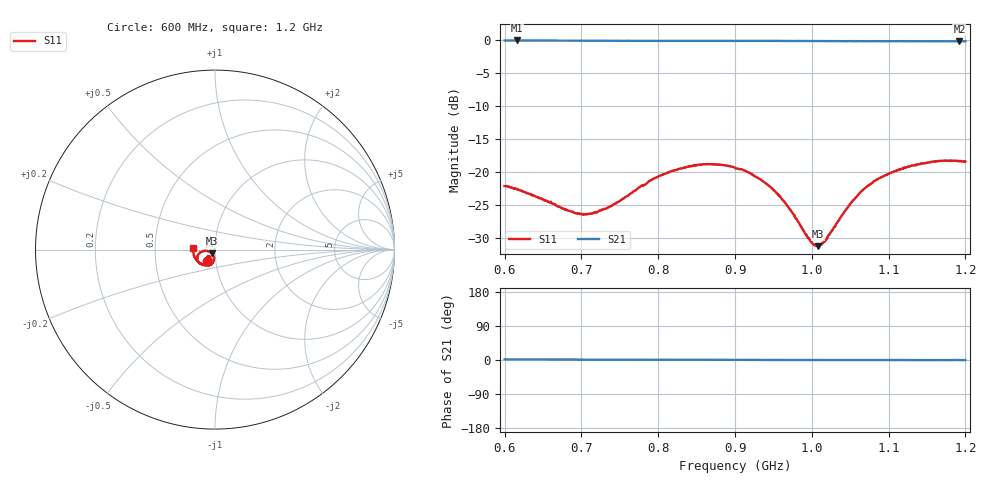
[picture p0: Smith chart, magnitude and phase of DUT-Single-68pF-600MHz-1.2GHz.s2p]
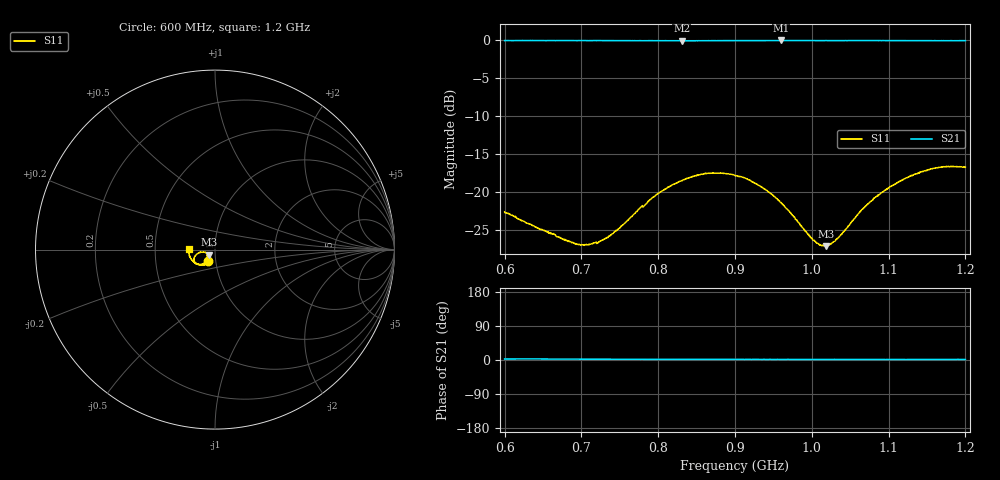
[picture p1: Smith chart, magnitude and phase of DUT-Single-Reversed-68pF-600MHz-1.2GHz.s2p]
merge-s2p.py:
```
#!/usr/bin/python3

"""
    Takes two S2P files, a forward and reverse configuration of the same
    network, and merges them into a single file. For recording S12 and S22
    on VNAs with a single output port.
"""

FORWARD_S2P = 'Tests/DUT-Single-68pF-600MHz-1.2GHz.s2p'
REVERSE_S2P = 'Tests/DUT-Single-Reversed-68pF-600MHz-1.2GHz.s2p'
OUTPUT_FILENAME = 'Tests/DUT-Single-Merged-68pF-600MHz-1.2GHz.s2p'

with open(FORWARD_S2P) as forward:
    forward_lines = forward.readlines()

with open(REVERSE_S2P) as reverse:
    reverse_lines = reverse.readlines()

with open(OUTPUT_FILENAME, 'w') as output:
    # Write header and comment.
    output.write('!Stimulus Real(S11) Imag(S11) Real(S21) Imag(S21) Real(S12) '
                 + 'Imag(S12) Real(S22) Imag(S22)\n')
    output.write('# HZ S RI R 50\n')

    for i, forward_line in enumerate(forward_lines[1:]):
        # Add the forward components, S11 and S12.
        line = forward_line.strip('\n').split(' ')
        line = line[:5]

        # Add the reverse components, S21 and S22.
        # The order of these must be swapped before being appended.
        reverse_line = reverse_lines[i + 1].strip('\n').split(' ')
        line += reverse_line[3:5]
        line += reverse_line[1:3]
        output.write(' '.join(line) + '\n')
```
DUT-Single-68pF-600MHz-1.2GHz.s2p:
# HZ S RI R 50
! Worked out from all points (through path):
!   1010 points, 600 MHz to 1.2 GHz, reference 50 ohm
!   highest |S21| = -0.02 dB at 616.1 MHz (marker M1); lowest = -0.2 dB at 1.192 GHz (marker M2)
!   lowest |S11| = -31.2 dB at 1.008 GHz (marker M3), VSWR 1.06, Z = 48.1 - j1.93 ohm
!   |S11| at or under -10 dB: start of sweep to end of sweep
!   S12 and S22 are empty: the file has one direction only
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6e8  -0.0432 -0.0653  0.9962 0.0298  0 0  0 0
6.160555e8  -0.0449 -0.059  0.9971 0.0294  0 0  0 0
7.06442e8  -0.0293 -0.0382  0.9921 0.0175  0 0  0 0
8.182358e8  -0.0591 -0.0832  0.9887 0.0108  0 0  0 0
9.002972e8  -0.0972 -0.0447  0.99 0.0058  0 0  0 0
9.49653e8  -0.0727 -0.0103  0.9897 0.00242  0 0  0 0
1.007929e9  -0.0187 -0.02  0.9871 0.00147  0 0  0 0
1.083449e9  -0.0231 -0.0843  0.9846 -0.00231  0 0  0 0
1.131615e9  -0.0792 -0.079  0.9854 -0.00254  0 0  0 0
1.192269e9  -0.1211 -0.00519  0.9824 -0.00294  0 0  0 0
1.2e9  -0.1202 0.00663  0.9829 -0.00242  0 0  0 0
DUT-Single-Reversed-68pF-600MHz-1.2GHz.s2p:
# HZ S RI R 50
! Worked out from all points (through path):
!   1010 points, 600 MHz to 1.2 GHz, reference 50 ohm
!   highest |S21| = -0.03 dB at 959.8 MHz (marker M1); lowest = -0.1 dB at 830.7 MHz (marker M2)
!   lowest |S11| = -27.2 dB at 1.018 GHz (marker M3), VSWR 1.09, Z = 46.7 - j2.72 ohm
!   |S11| at or under -10 dB: start of sweep to end of sweep
!   S12 and S22 are empty: the file has one direction only
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6e8  -0.0416 -0.0608  0.9937 0.0469  0 0  0 0
7.100099e8  -0.0352 -0.0277  0.9941 0.0361  0 0  0 0
7.343904e8  -0.0337 -0.0369  0.994 0.0347  0 0  0 0
8.307234e8  -0.0847 -0.0835  0.9911 0.0295  0 0  0 0
9.002972e8  -0.1151 -0.0548  0.9945 0.029  0 0  0 0
9.59762e8  -0.0836 -0.016  0.9965 0.0258  0 0  0 0
1.001387e9  -0.0442 -0.0199  0.9945 0.025  0 0  0 0
1.018038e9  -0.0328 -0.0291  0.9954 0.027  0 0  0 0
1.112587e9  -0.0778 -0.0861  0.9949 0.0235  0 0  0 0
1.158374e9  -0.1325 -0.0535  0.9932 0.0239  0 0  0 0
1.2e9  -0.1454 0.0018  0.9927 0.0243  0 0  0 0
